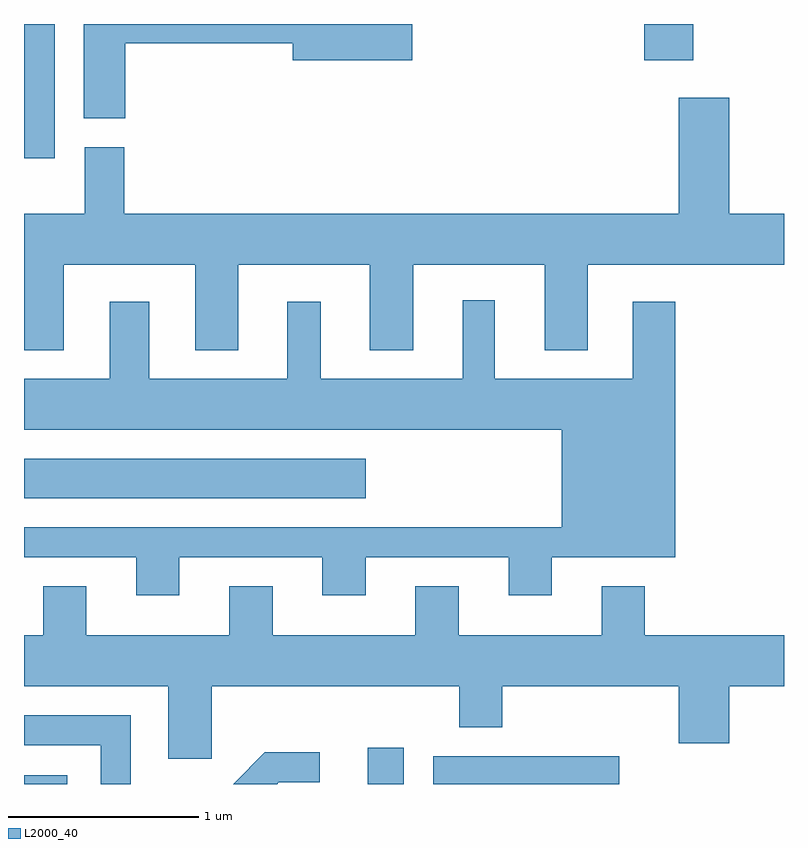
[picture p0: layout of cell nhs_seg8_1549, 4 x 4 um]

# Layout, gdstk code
import gdstk
lib = gdstk.Library(unit=1e-6, precision=1e-09)
def R(c, l, rs):  # rectangles x0, y0, x1, y1
    for r in rs: c.add(gdstk.rectangle(r[:2], r[2:], *l))
def P(c, l, *ps):  # polygons
    for p in ps: c.add(gdstk.Polygon(p, *l))
L2000_40 = (2000, 40)

nhs_seg8_1549 = lib.new_cell('nhs_seg8_1549')
R(nhs_seg8_1549, L2000_40, [(231.611,1840.342,231.839,1840.389), (233.421,1840.342,233.609,1840.534), (233.766,1840.342,234.744,1840.489), (231.611,1841.846,233.409,1842.054), (231.611,1843.636,231.774,1844.342), (234.876,1844.151,235.134,1844.342)])
P(nhs_seg8_1549, L2000_40, [(232.144,1844.241),(233.026,1844.241),(233.026,1844.151),(233.654,1844.151),(233.654,1844.342),(231.926,1844.342),(231.926,1843.846),(232.144,1843.846)],
  [(231.819,1843.076),(232.511,1843.076),(232.511,1842.626),(232.739,1842.626),(232.739,1843.076),(233.431,1843.076),(233.431,1842.626),(233.659,1842.626),(233.659,1843.076),(234.351,1843.076),(234.351,1842.626),(234.579,1842.626),(234.579,1843.076),(235.611,1843.076),(235.611,1843.344),(235.324,1843.344),(235.324,1843.954),(235.056,1843.954),(235.056,1843.344),(232.139,1843.344),(232.139,1843.694),(231.931,1843.694),(231.931,1843.344),(231.611,1843.344),(231.611,1842.626),(231.819,1842.626)],
  [(232.429,1841.536),(233.181,1841.536),(233.181,1841.336),(233.409,1841.336),(233.409,1841.536),(234.161,1841.536),(234.161,1841.336),(234.389,1841.336),(234.389,1841.536),(235.039,1841.536),(235.039,1842.879),(234.816,1842.879),(234.816,1842.474),(234.089,1842.474),(234.089,1842.888),(233.921,1842.888),(233.921,1842.474),(233.174,1842.474),(233.174,1842.879),(232.996,1842.879),(232.996,1842.474),(232.269,1842.474),(232.269,1842.879),(232.061,1842.879),(232.061,1842.474),(231.611,1842.474),(231.611,1842.206),(234.441,1842.206),(234.441,1841.694),(231.611,1841.694),(231.611,1841.536),(232.201,1841.536),(232.201,1841.336),(232.429,1841.336)],
  [(233.901,1840.641),(234.129,1840.641),(234.129,1840.856),(235.056,1840.856),(235.056,1840.556),(235.324,1840.556),(235.324,1840.856),(235.611,1840.856),(235.611,1841.124),(234.879,1841.124),(234.879,1841.384),(234.651,1841.384),(234.651,1841.124),(233.899,1841.124),(233.899,1841.384),(233.671,1841.384),(233.671,1841.124),(232.919,1841.124),(232.919,1841.384),(232.691,1841.384),(232.691,1841.124),(231.939,1841.124),(231.939,1841.384),(231.711,1841.384),(231.711,1841.124),(231.611,1841.124),(231.611,1840.856),(232.371,1840.856),(232.371,1840.476),(232.599,1840.476),(232.599,1840.856),(233.901,1840.856)],
  [(232.174,1840.704),(231.611,1840.704),(231.611,1840.546),(232.016,1840.546),(232.016,1840.342),(232.174,1840.342)],
  [(232.952,1840.351),(233.168,1840.351),(233.168,1840.509),(232.879,1840.509),(232.712,1840.342),(232.943,1840.342)])

lib.write_gds('nhs_seg8_1549.gds')
